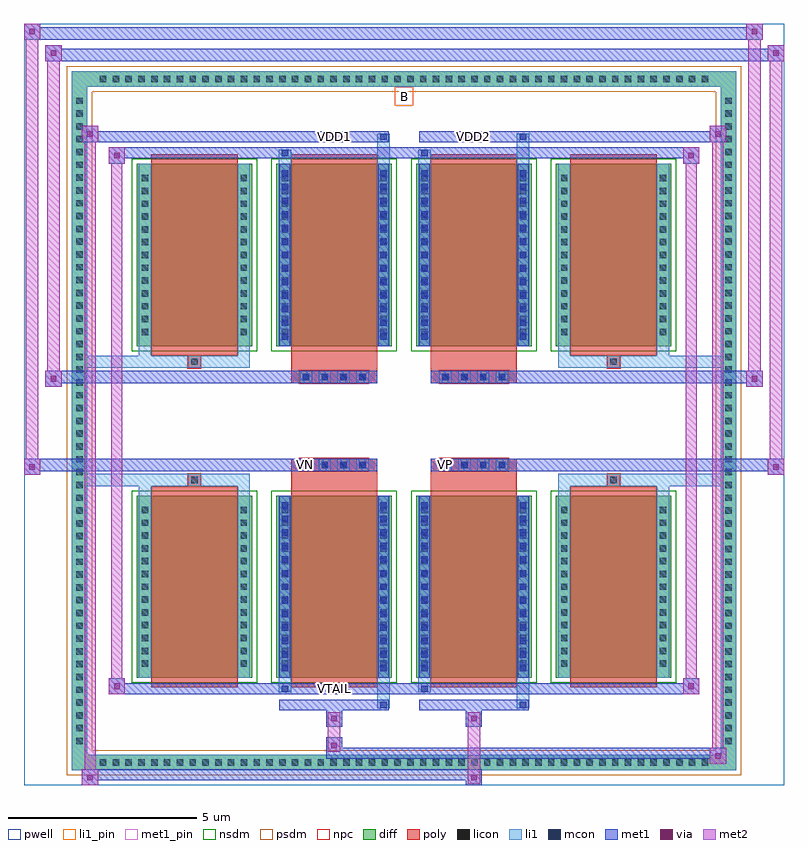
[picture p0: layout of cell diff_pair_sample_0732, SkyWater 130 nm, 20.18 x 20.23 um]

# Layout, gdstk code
import gdstk
lib = gdstk.Library(unit=1e-6, precision=5e-09)
def R(c, l, rs):  # rectangles x0, y0, x1, y1
    for r in rs: c.add(gdstk.rectangle(r[:2], r[2:], *l))
def A(c, l, x, y, w, h, nx, ny, dx, dy):  # array of equal rectangles
    R(c, l, [(x+i*dx, y+j*dy, x+i*dx+w, y+j*dy+h) for i in range(nx) for j in range(ny)])
def P(c, l, *ps):  # polygons
    for p in ps: c.add(gdstk.Polygon(p, *l))
pwell = (64, 44)
diff = (65, 20)
poly = (66, 20)
licon = (66, 44)
li1_pin = (67, 16)
li1 = (67, 20)
mcon = (67, 44)
met1_pin = (68, 16)
met1 = (68, 20)
via = (68, 44)
met2 = (69, 20)
nsdm = (93, 44)
psdm = (94, 20)
npc = (95, 20)

diff_pair_sample_0732 = lib.new_cell('diff_pair_sample_0732')
R(diff_pair_sample_0732, pwell, [(-10.09,-9.68,10.09,10.55), (-7.41,-7.87,-0.01,-0.805), (0.01,-7.87,7.41,-0.805), (-7.41,0.805,-0.01,7.87), (0.01,0.805,7.41,7.87)])
A(diff_pair_sample_0732, diff, -8.195, -9.28, 0.41, 0.41, 48, 2, 0.34, 18.15)
A(diff_pair_sample_0732, diff, -8.82, -8.705, 0.41, 0.41, 1, 51, 0, 0.34)
A(diff_pair_sample_0732, diff, 8.41, -8.705, 0.41, 0.41, 1, 51, 0, 0.34)
A(diff_pair_sample_0732, diff, -7.1, -6.825, 3.07, 4.84, 4, 2, 3.71, 8.81)
R(diff_pair_sample_0732, diff, [(-8.195,-9.28,8.195,-8.87), (-8.82,-8.705,-8.41,8.705), (8.41,-8.705,8.82,8.705), (-8.195,8.87,8.195,9.28)])
P(diff_pair_sample_0732, diff, [(8.82,9.28),(-8.82,9.28),(-8.82,-8.87),(-8.41,-8.87),(-8.41,8.87),(8.41,8.87),(8.41,-8.87),(-8.41,-8.87),(-8.82,-8.87),(-8.82,-9.28),(8.82,-9.28)])
A(diff_pair_sample_0732, poly, -6.71, -7.075, 2.29, 5.34, 4, 2, 3.71, 8.81)
A(diff_pair_sample_0732, poly, -2.77, -1.335, 0.33, 0.33, 4, 2, 0.5, 2.34)
A(diff_pair_sample_0732, poly, 0.94, -1.335, 0.33, 0.33, 4, 2, 0.5, 2.34)
R(diff_pair_sample_0732, poly, [(-5.73,-1.735,-5.4,-1.405), (-5.73,-1.735,-5.4,-1.405), (-3,-1.735,-0.71,-1.335), (0.71,-1.735,3,-1.335), (5.4,-1.735,5.73,-1.405), (5.4,-1.735,5.73,-1.405), (-3,-1.335,-0.71,-1.005), (0.71,-1.335,3,-1.005), (-3,1.005,-0.71,1.335), (0.71,1.005,3,1.335), (-3,1.335,-0.71,1.735), (0.71,1.335,3,1.735), (-5.73,1.405,-5.4,1.735), (-5.73,1.405,-5.4,1.735), (5.4,1.405,5.73,1.735), (5.4,1.405,5.73,1.735)])
A(diff_pair_sample_0732, licon, -8.075, -9.16, 0.17, 0.17, 48, 2, 0.34, 18.15)
A(diff_pair_sample_0732, licon, -8.7, -8.585, 0.17, 0.17, 1, 51, 0, 0.34)
A(diff_pair_sample_0732, licon, 8.53, -8.585, 0.17, 0.17, 1, 51, 0, 0.34)
A(diff_pair_sample_0732, licon, -6.96, -6.53, 0.17, 0.17, 1, 13, 0, 0.34)
A(diff_pair_sample_0732, licon, -4.34, -6.53, 0.17, 0.17, 1, 13, 0, 0.34)
A(diff_pair_sample_0732, licon, -3.25, -6.53, 0.17, 0.17, 1, 13, 0, 0.34)
A(diff_pair_sample_0732, licon, -0.63, -6.53, 0.17, 0.17, 1, 13, 0, 0.34)
A(diff_pair_sample_0732, licon, 0.46, -6.53, 0.17, 0.17, 1, 13, 0, 0.34)
A(diff_pair_sample_0732, licon, 3.08, -6.53, 0.17, 0.17, 1, 13, 0, 0.34)
A(diff_pair_sample_0732, licon, 4.17, -6.53, 0.17, 0.17, 1, 13, 0, 0.34)
A(diff_pair_sample_0732, licon, 6.79, -6.53, 0.17, 0.17, 1, 13, 0, 0.34)
A(diff_pair_sample_0732, licon, -2.69, -1.255, 0.17, 0.17, 4, 2, 0.5, 2.34)
A(diff_pair_sample_0732, licon, 1.02, -1.255, 0.17, 0.17, 4, 2, 0.5, 2.34)
A(diff_pair_sample_0732, licon, -6.96, 2.28, 0.17, 0.17, 1, 13, 0, 0.34)
A(diff_pair_sample_0732, licon, -4.34, 2.28, 0.17, 0.17, 1, 13, 0, 0.34)
A(diff_pair_sample_0732, licon, -3.25, 2.28, 0.17, 0.17, 1, 13, 0, 0.34)
A(diff_pair_sample_0732, licon, -0.63, 2.28, 0.17, 0.17, 1, 13, 0, 0.34)
A(diff_pair_sample_0732, licon, 0.46, 2.28, 0.17, 0.17, 1, 13, 0, 0.34)
A(diff_pair_sample_0732, licon, 3.08, 2.28, 0.17, 0.17, 1, 13, 0, 0.34)
A(diff_pair_sample_0732, licon, 4.17, 2.28, 0.17, 0.17, 1, 13, 0, 0.34)
A(diff_pair_sample_0732, licon, 6.79, 2.28, 0.17, 0.17, 1, 13, 0, 0.34)
R(diff_pair_sample_0732, licon, [(-5.65,-1.655,-5.48,-1.485), (5.48,-1.655,5.65,-1.485), (-5.65,1.485,-5.48,1.655), (5.48,1.485,5.65,1.655)])
R(diff_pair_sample_0732, li1_pin, [(-0.25,8.37,0.25,8.87)])
A(diff_pair_sample_0732, li1, -8.155, -9.24, 0.33, 0.33, 48, 2, 0.34, 18.15)
A(diff_pair_sample_0732, li1, -8.78, -8.665, 0.33, 0.33, 1, 51, 0, 0.34)
A(diff_pair_sample_0732, li1, 8.45, -8.665, 0.33, 0.33, 1, 51, 0, 0.34)
A(diff_pair_sample_0732, li1, -3.25, -6.65, 0.17, 0.17, 1, 13, 0, 0.36)
A(diff_pair_sample_0732, li1, -0.63, -6.65, 0.17, 0.17, 1, 13, 0, 0.36)
A(diff_pair_sample_0732, li1, 0.46, -6.65, 0.17, 0.17, 1, 13, 0, 0.36)
A(diff_pair_sample_0732, li1, 3.08, -6.65, 0.17, 0.17, 1, 13, 0, 0.36)
A(diff_pair_sample_0732, li1, -7.04, -6.61, 0.33, 0.33, 1, 13, 0, 0.34)
A(diff_pair_sample_0732, li1, -4.42, -6.61, 0.33, 0.33, 1, 13, 0, 0.34)
A(diff_pair_sample_0732, li1, -3.33, -6.61, 0.33, 0.33, 1, 13, 0, 0.34)
A(diff_pair_sample_0732, li1, -0.71, -6.61, 0.33, 0.33, 1, 13, 0, 0.34)
A(diff_pair_sample_0732, li1, 0.38, -6.61, 0.33, 0.33, 1, 13, 0, 0.34)
A(diff_pair_sample_0732, li1, 3, -6.61, 0.33, 0.33, 1, 13, 0, 0.34)
A(diff_pair_sample_0732, li1, 4.09, -6.61, 0.33, 0.33, 1, 13, 0, 0.34)
A(diff_pair_sample_0732, li1, 6.71, -6.61, 0.33, 0.33, 1, 13, 0, 0.34)
A(diff_pair_sample_0732, li1, -2.77, -1.335, 0.33, 0.33, 4, 2, 0.5, 2.34)
A(diff_pair_sample_0732, li1, 0.94, -1.335, 0.33, 0.33, 4, 2, 0.5, 2.34)
A(diff_pair_sample_0732, li1, -3.25, 2.16, 0.17, 0.17, 1, 13, 0, 0.36)
A(diff_pair_sample_0732, li1, -0.63, 2.16, 0.17, 0.17, 1, 13, 0, 0.36)
A(diff_pair_sample_0732, li1, 0.46, 2.16, 0.17, 0.17, 1, 13, 0, 0.36)
A(diff_pair_sample_0732, li1, 3.08, 2.16, 0.17, 0.17, 1, 13, 0, 0.36)
A(diff_pair_sample_0732, li1, -7.04, 2.2, 0.33, 0.33, 1, 13, 0, 0.34)
A(diff_pair_sample_0732, li1, -4.42, 2.2, 0.33, 0.33, 1, 13, 0, 0.34)
A(diff_pair_sample_0732, li1, -3.33, 2.2, 0.33, 0.33, 1, 13, 0, 0.34)
A(diff_pair_sample_0732, li1, -0.71, 2.2, 0.33, 0.33, 1, 13, 0, 0.34)
A(diff_pair_sample_0732, li1, 0.38, 2.2, 0.33, 0.33, 1, 13, 0, 0.34)
A(diff_pair_sample_0732, li1, 3, 2.2, 0.33, 0.33, 1, 13, 0, 0.34)
A(diff_pair_sample_0732, li1, 4.09, 2.2, 0.33, 0.33, 1, 13, 0, 0.34)
A(diff_pair_sample_0732, li1, 6.71, 2.2, 0.33, 0.33, 1, 13, 0, 0.34)
R(diff_pair_sample_0732, li1, [(-8.82,-9.28,-8.41,-8.87), (-8.82,-9.28,-8.41,-8.87), (-8.41,-9.28,8.41,-8.87), (8.41,-9.28,8.82,-8.87), (8.41,-9.28,8.82,-8.87), (-8.82,-8.87,-8.41,8.87), (8.41,-8.87,8.82,8.87), (-0.71,-7.63,-0.38,-6.825), (-0.63,-7.63,-0.46,-7.46), (3,-7.63,3.33,-6.825), (3.08,-7.63,3.25,-7.46), (-3.33,-7.2,-3,-6.825), (-3.25,-7.2,-3.08,-7.03), (0.38,-7.2,0.71,-6.825), (0.46,-7.2,0.63,-7.03), (-7.04,-6.825,-6.71,-1.985), (-4.42,-6.825,-4.09,-1.985), (-3.33,-6.825,-3,-1.985), (-0.71,-6.825,-0.38,-1.985), (0.38,-6.825,0.71,-1.985), (3,-6.825,3.33,-1.985), (4.09,-6.825,4.42,-1.985), (6.71,-6.825,7.04,-1.985), (-3.25,-6.65,-3.08,-2.16), (-0.63,-6.65,-0.46,-2.16), (0.46,-6.65,0.63,-2.16), (3.08,-6.65,3.25,-2.16), (-7.04,-1.985,-6.71,-1.405), (-4.42,-1.985,-4.09,-1.405), (4.09,-1.985,4.42,-1.405), (6.71,-1.985,7.04,-1.405), (-8.82,-1.735,-5.73,-1.405), (-7.04,-1.735,-5.73,-1.405), (-5.73,-1.735,-5.4,-1.405), (-5.4,-1.735,-4.09,-1.405), (4.09,-1.735,5.4,-1.405), (5.4,-1.735,5.73,-1.405), (5.4,-1.735,8.82,-1.405), (5.73,-1.735,7.04,-1.405), (-8.82,1.405,-5.73,1.735), (-7.04,1.405,-5.73,1.735), (-7.04,1.405,-6.71,1.985), (-5.73,1.405,-5.4,1.735), (-5.4,1.405,-4.09,1.735), (-4.42,1.405,-4.09,1.985), (4.09,1.405,5.4,1.735), (4.09,1.405,4.42,1.985), (5.4,1.405,5.73,1.735), (5.4,1.405,8.82,1.735), (5.73,1.405,7.04,1.735), (6.71,1.405,7.04,1.985), (-7.04,1.985,-6.71,6.825), (-4.42,1.985,-4.09,6.825), (-3.33,1.985,-3,6.825), (-0.71,1.985,-0.38,6.825), (0.38,1.985,0.71,6.825), (3,1.985,3.33,6.825), (4.09,1.985,4.42,6.825), (6.71,1.985,7.04,6.825), (-3.25,2.16,-3.08,6.65), (-0.63,2.16,-0.46,6.65), (0.46,2.16,0.63,6.65), (3.08,2.16,3.25,6.65), (-3.33,6.825,-3,7.2), (-0.71,6.825,-0.38,7.63), (0.38,6.825,0.71,7.2), (3,6.825,3.33,7.63), (-3.25,7.03,-3.08,7.2), (0.46,7.03,0.63,7.2), (-0.63,7.46,-0.46,7.63), (3.08,7.46,3.25,7.63), (-8.82,8.87,-8.41,9.28), (-8.82,8.87,-8.41,9.28), (-8.41,8.87,8.41,9.28), (8.41,8.87,8.82,9.28), (8.41,8.87,8.82,9.28)])
A(diff_pair_sample_0732, mcon, -3.25, -6.65, 0.17, 0.17, 1, 13, 0, 0.36)
A(diff_pair_sample_0732, mcon, -0.63, -6.65, 0.17, 0.17, 1, 13, 0, 0.36)
A(diff_pair_sample_0732, mcon, 0.46, -6.65, 0.17, 0.17, 1, 13, 0, 0.36)
A(diff_pair_sample_0732, mcon, 3.08, -6.65, 0.17, 0.17, 1, 13, 0, 0.36)
A(diff_pair_sample_0732, mcon, -2.69, -1.255, 0.17, 0.17, 4, 2, 0.5, 2.34)
A(diff_pair_sample_0732, mcon, 1.02, -1.255, 0.17, 0.17, 4, 2, 0.5, 2.34)
A(diff_pair_sample_0732, mcon, -3.25, 2.16, 0.17, 0.17, 1, 13, 0, 0.36)
A(diff_pair_sample_0732, mcon, -0.63, 2.16, 0.17, 0.17, 1, 13, 0, 0.36)
A(diff_pair_sample_0732, mcon, 0.46, 2.16, 0.17, 0.17, 1, 13, 0, 0.36)
A(diff_pair_sample_0732, mcon, 3.08, 2.16, 0.17, 0.17, 1, 13, 0, 0.36)
R(diff_pair_sample_0732, mcon, [(-0.63,-7.63,-0.46,-7.46), (3.08,-7.63,3.25,-7.46), (-3.25,-7.2,-3.08,-7.03), (0.46,-7.2,0.63,-7.03), (-3.25,7.03,-3.08,7.2), (0.46,7.03,0.63,7.2), (-0.63,7.46,-0.46,7.63), (3.08,7.46,3.25,7.63)])
R(diff_pair_sample_0732, met1_pin, [(-1.99,-7.24,-1.72,-6.97), (-2.74,-1.295,-2.47,-1.025), (0.97,-1.295,1.24,-1.025), (-1.99,7.42,-1.72,7.69), (1.72,7.42,1.99,7.69)])
A(diff_pair_sample_0732, met1, -3.31, -6.71, 0.29, 0.29, 1, 13, 0, 0.36)
A(diff_pair_sample_0732, met1, -0.69, -6.71, 0.29, 0.29, 1, 13, 0, 0.36)
A(diff_pair_sample_0732, met1, 0.4, -6.71, 0.29, 0.29, 1, 13, 0, 0.36)
A(diff_pair_sample_0732, met1, 3.02, -6.71, 0.29, 0.29, 1, 13, 0, 0.36)
A(diff_pair_sample_0732, met1, -2.75, -1.315, 0.29, 0.29, 4, 2, 0.5, 2.34)
A(diff_pair_sample_0732, met1, 0.96, -1.315, 0.29, 0.29, 4, 2, 0.5, 2.34)
A(diff_pair_sample_0732, met1, -3.31, 2.1, 0.29, 0.29, 1, 13, 0, 0.36)
A(diff_pair_sample_0732, met1, -0.69, 2.1, 0.29, 0.29, 1, 13, 0, 0.36)
A(diff_pair_sample_0732, met1, 0.4, 2.1, 0.29, 0.29, 1, 13, 0, 0.36)
A(diff_pair_sample_0732, met1, 3.02, 2.1, 0.29, 0.29, 1, 13, 0, 0.36)
R(diff_pair_sample_0732, met1, [(-8.55,-9.68,-8.12,-9.25), (1.64,-9.68,2.07,-9.25), (-8.55,-9.54,2.07,-9.25), (8.12,-9.11,8.55,-8.68), (-2.07,-8.97,8.55,-8.68), (-2.07,-8.83,-1.64,-8.4), (-2.07,-8.12,-1.64,-7.69), (1.64,-8.12,2.07,-7.69), (-3.31,-7.69,-0.4,-7.4), (-0.69,-7.69,-0.4,-7.4), (0.4,-7.69,3.31,-7.4), (3.02,-7.69,3.31,-7.4), (-7.84,-7.26,-7.41,-6.83), (-7.84,-7.26,-3.31,-6.97), (-3.31,-7.26,-3.02,-6.97), (-3.31,-7.26,-0.4,-6.97), (-0.4,-7.26,0.4,-6.97), (0.4,-7.26,0.69,-6.97), (0.4,-7.26,3.31,-6.97), (3.31,-7.26,7.84,-6.97), (7.41,-7.26,7.84,-6.83), (-3.31,-6.825,-3.02,-1.985), (-0.69,-6.825,-0.4,-1.985), (0.4,-6.825,0.69,-1.985), (3.02,-6.825,3.31,-1.985), (-10.09,-1.435,-9.66,-1.005), (9.66,-1.435,10.09,-1.005), (-10.09,-1.335,-0.71,-1.005), (-3,-1.335,-0.71,-1.005), (0.71,-1.335,3,-1.005), (0.71,-1.335,10.09,-1.005), (-9.52,0.905,-9.09,1.335), (9.09,0.905,9.52,1.335), (-9.52,1.005,-3,1.335), (-3,1.005,-0.71,1.335), (0.71,1.005,3,1.335), (3,1.005,9.52,1.335), (-3.31,1.985,-3.02,6.825), (-0.69,1.985,-0.4,6.825), (0.4,1.985,0.69,6.825), (3.02,1.985,3.31,6.825), (-7.84,6.83,-7.41,7.26), (7.41,6.83,7.84,7.26), (-7.84,6.97,-3.31,7.26), (-3.31,6.97,-3.02,7.26), (-3.31,6.97,-0.4,7.26), (-0.4,6.97,0.4,7.26), (0.4,6.97,0.69,7.26), (0.4,6.97,3.31,7.26), (3.31,6.97,7.84,7.26), (-8.55,7.4,-8.12,7.83), (-8.55,7.4,-3.31,7.69), (-3.31,7.4,-0.4,7.69), (-0.69,7.4,-0.4,7.69), (0.4,7.4,3.31,7.69), (3.02,7.4,3.31,7.69), (3.31,7.4,8.55,7.69), (8.12,7.4,8.55,7.83), (-9.52,9.55,-9.09,9.98), (-9.52,9.55,-7.41,9.88), (-7.41,9.55,7.41,9.88), (7.41,9.55,10.09,9.88), (9.66,9.55,10.09,9.98), (-10.09,10.12,-9.66,10.55), (-10.09,10.12,-7.41,10.45), (-7.41,10.12,7.41,10.45), (7.41,10.12,9.52,10.45), (9.09,10.12,9.52,10.55)])
R(diff_pair_sample_0732, via, [(-8.41,-9.54,-8.26,-9.39), (1.78,-9.54,1.93,-9.39), (8.26,-8.97,8.41,-8.82), (-1.93,-8.69,-1.78,-8.54), (-1.93,-7.98,-1.78,-7.83), (1.78,-7.98,1.93,-7.83), (-7.7,-7.12,-7.55,-6.97), (7.55,-7.12,7.7,-6.97), (-9.95,-1.295,-9.8,-1.145), (9.8,-1.295,9.95,-1.145), (-9.38,1.045,-9.23,1.195), (9.23,1.045,9.38,1.195), (-7.7,6.97,-7.55,7.12), (7.55,6.97,7.7,7.12), (-8.41,7.54,-8.26,7.69), (8.26,7.54,8.41,7.69), (-9.38,9.69,-9.23,9.84), (9.8,9.69,9.95,9.84), (-9.95,10.26,-9.8,10.41), (9.23,10.26,9.38,10.41)])
R(diff_pair_sample_0732, met2, [(-8.55,-9.68,-8.12,-9.25), (-8.48,-9.68,-8.19,7.83), (-8.19,-9.68,-8.12,-9.25), (-8.5,-9.63,-8.17,-9.3), (1.69,-9.63,2.02,-9.3), (1.69,-9.3,2.02,-8.07), (8.12,-9.11,8.55,-8.68), (8.19,-9.11,8.48,7.83), (8.48,-9.11,8.55,-8.68), (8.17,-9.06,8.5,-8.73), (-2.02,-8.78,-1.69,-8.45), (-2.02,-8.45,-1.69,-8.07), (-2.02,-8.07,-1.69,-7.74), (1.69,-8.07,2.02,-7.74), (-7.84,-7.26,-7.41,-6.83), (-7.77,-7.26,-7.48,7.26), (-7.48,-7.26,-7.41,-6.83), (7.41,-7.26,7.84,-6.83), (7.48,-7.26,7.77,7.26), (7.77,-7.26,7.84,-6.83), (-7.79,-7.21,-7.46,-6.88), (7.46,-7.21,7.79,-6.88), (-10.09,-1.435,-9.66,-1.005), (-10.04,-1.435,-9.71,10.55), (-9.71,-1.435,-9.66,-1.005), (9.66,-1.435,10.09,-1.005), (9.71,-1.435,10.04,9.98), (10.04,-1.435,10.09,-1.005), (-10.04,-1.385,-9.71,-1.055), (9.71,-1.385,10.04,-1.055), (-9.52,0.905,-9.09,1.335), (-9.47,0.905,-9.14,9.98), (-9.14,0.905,-9.09,1.335), (9.09,0.905,9.52,1.335), (9.14,0.905,9.47,10.55), (9.47,0.905,9.52,1.335), (-9.47,0.955,-9.14,1.285), (9.14,0.955,9.47,1.285), (-7.84,6.83,-7.41,7.26), (-7.48,6.83,-7.41,7.26), (7.41,6.83,7.84,7.26), (7.77,6.83,7.84,7.26), (-7.79,6.88,-7.46,7.21), (7.46,6.88,7.79,7.21), (-8.55,7.4,-8.12,7.83), (-8.19,7.4,-8.12,7.83), (8.12,7.4,8.55,7.83), (8.48,7.4,8.55,7.83), (-8.5,7.45,-8.17,7.78), (8.17,7.45,8.5,7.78), (-9.52,9.55,-9.09,9.98), (-9.14,9.55,-9.09,9.98), (9.66,9.55,10.09,9.98), (10.04,9.55,10.09,9.98), (-9.47,9.6,-9.14,9.93), (9.71,9.6,10.04,9.93), (-10.09,10.12,-9.66,10.55), (-9.71,10.12,-9.66,10.55), (9.09,10.12,9.52,10.55), (9.47,10.12,9.52,10.55), (-10.04,10.17,-9.71,10.5), (9.14,10.17,9.47,10.5)])
A(diff_pair_sample_0732, nsdm, -7.23, -6.955, 3.33, 5.1, 4, 2, 3.71, 8.81)
P(diff_pair_sample_0732, psdm, [(8.95,9.41),(-8.95,9.41),(-8.95,-8.74),(-8.28,-8.74),(-8.28,8.74),(8.28,8.74),(8.28,-8.74),(-8.28,-8.74),(-8.95,-8.74),(-8.95,-9.41),(8.95,-9.41)])
A(diff_pair_sample_0732, npc, -2.79, -1.355, 0.37, 0.37, 4, 2, 0.5, 2.34)
A(diff_pair_sample_0732, npc, 0.92, -1.355, 0.37, 0.37, 4, 2, 0.5, 2.34)
R(diff_pair_sample_0732, npc, [(-5.75,-1.755,-5.38,-1.385), (5.38,-1.755,5.75,-1.385), (-2.79,-1.355,-1.92,-0.985), (-2.79,-1.355,-1.92,-0.985), (-2.29,-1.355,-1.42,-0.985), (-2.29,-1.355,-1.42,-0.985), (-1.79,-1.355,-0.92,-0.985), (-1.79,-1.355,-0.92,-0.985), (0.92,-1.355,1.79,-0.985), (0.92,-1.355,1.79,-0.985), (1.42,-1.355,2.29,-0.985), (1.42,-1.355,2.29,-0.985), (1.92,-1.355,2.79,-0.985), (1.92,-1.355,2.79,-0.985), (-2.79,0.985,-1.92,1.355), (-2.79,0.985,-1.92,1.355), (-2.29,0.985,-1.42,1.355), (-2.29,0.985,-1.42,1.355), (-1.79,0.985,-0.92,1.355), (-1.79,0.985,-0.92,1.355), (0.92,0.985,1.79,1.355), (0.92,0.985,1.79,1.355), (1.42,0.985,2.29,1.355), (1.42,0.985,2.29,1.355), (1.92,0.985,2.79,1.355), (1.92,0.985,2.79,1.355), (-5.75,1.385,-5.38,1.755), (5.38,1.385,5.75,1.755)])
diff_pair_sample_0732.add(gdstk.Label('VTAIL', (-1.855,-7.105), layer=68, texttype=5))
diff_pair_sample_0732.add(gdstk.Label('VN', (-2.605,-1.16), layer=68, texttype=5))
diff_pair_sample_0732.add(gdstk.Label('VP', (1.105,-1.16), layer=68, texttype=5))
diff_pair_sample_0732.add(gdstk.Label('B', (0,8.62), layer=67, texttype=5))
diff_pair_sample_0732.add(gdstk.Label('VDD2', (1.855,7.555), layer=68, texttype=5))
diff_pair_sample_0732.add(gdstk.Label('VDD1', (-1.855,7.555), layer=68, texttype=5))

lib.write_gds('diff_pair_sample_0732.gds')
